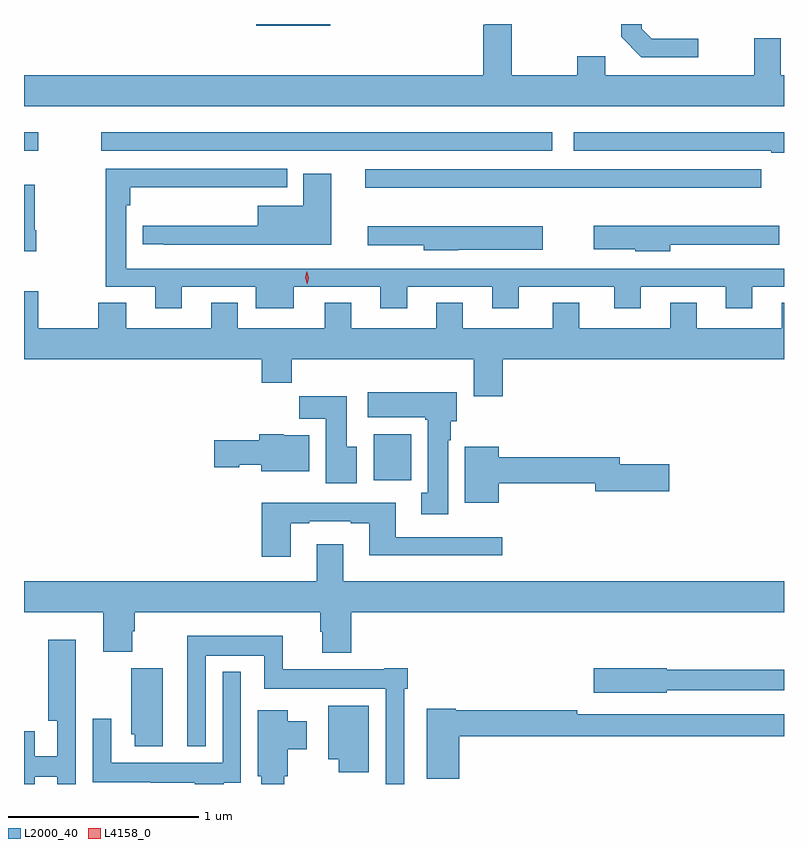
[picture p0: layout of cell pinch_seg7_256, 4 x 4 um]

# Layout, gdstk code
import gdstk
lib = gdstk.Library(unit=1e-6, precision=1e-09)
def R(c, l, rs):  # rectangles x0, y0, x1, y1
    for r in rs: c.add(gdstk.rectangle(r[:2], r[2:], *l))
def P(c, l, *ps):  # polygons
    for p in ps: c.add(gdstk.Polygon(p, *l))
L2000_40 = (2000, 40)
L4158_0 = (4158, 0)

pinch_seg7_256 = lib.new_cell('pinch_seg7_256')
R(pinch_seg7_256, L2000_40, [(804.425,1077.236,804.622,1077.478), (804.381,1078.775,806.464,1078.872), (802.585,1078.971,802.66,1079.068), (802.992,1078.971,805.366,1079.068), (803.808,1079.627,804.196,1079.637)])
P(pinch_seg7_256, L2000_40, [(806.134,1079.559),(805.89,1079.559),(805.836,1079.613),(805.836,1079.637),(805.728,1079.637),(805.728,1079.569),(805.833,1079.463),(806.134,1079.463)],
  [(806.585,1079.368),(806.569,1079.368),(806.569,1079.563),(806.429,1079.563),(806.429,1079.368),(805.645,1079.368),(805.645,1079.467),(805.498,1079.467),(805.498,1079.368),(805.153,1079.368),(805.153,1079.637),(805.013,1079.637),(805.013,1079.633),(805.001,1079.633),(805.001,1079.368),(802.585,1079.368),(802.585,1079.204),(806.585,1079.204)],
  [(806.585,1079.068),(805.479,1079.068),(805.479,1078.971),(806.519,1078.971),(806.519,1078.959),(806.585,1078.959)],
  [(803.416,1078.254),(803.804,1078.254),(803.804,1078.142),(804.004,1078.142),(804.004,1078.254),(804.461,1078.254),(804.461,1078.142),(804.601,1078.142),(804.601,1078.254),(805.049,1078.254),(805.049,1078.142),(805.189,1078.142),(805.189,1078.254),(805.691,1078.254),(805.691,1078.142),(805.831,1078.142),(805.831,1078.254),(806.279,1078.254),(806.279,1078.142),(806.419,1078.142),(806.419,1078.254),(806.585,1078.254),(806.585,1078.35),(803.124,1078.35),(803.124,1078.682),(803.144,1078.682),(803.144,1078.778),(803.72,1078.778),(803.72,1078.779),(803.971,1078.779),(803.971,1078.875),(803.016,1078.875),(803.016,1078.254),(803.276,1078.254),(803.276,1078.142),(803.416,1078.142)],
  [(804.202,1078.849),(804.056,1078.849),(804.056,1078.681),(803.816,1078.681),(803.816,1078.574),(803.209,1078.574),(803.209,1078.477),(803.32,1078.477),(803.32,1078.476),(803.92,1078.476),(803.92,1078.475),(804.202,1078.475)],
  [(802.65,1078.552),(802.642,1078.552),(802.642,1078.792),(802.585,1078.792),(802.585,1078.44),(802.65,1078.44)],
  [(805.987,1078.476),(806.56,1078.476),(806.56,1078.574),(805.584,1078.574),(805.584,1078.451),(805.803,1078.451),(805.803,1078.442),(805.987,1078.442)],
  [(804.87,1078.448),(805.315,1078.448),(805.315,1078.573),(804.393,1078.573),(804.393,1078.472),(804.69,1078.472),(804.69,1078.445),(804.87,1078.445)],
  [(805.106,1077.872),(806.585,1077.872),(806.585,1078.169),(806.573,1078.169),(806.573,1078.036),(806.125,1078.036),(806.125,1078.169),(805.985,1078.169),(805.985,1078.036),(805.507,1078.036),(805.507,1078.169),(805.367,1078.169),(805.367,1078.036),(804.895,1078.036),(804.895,1078.169),(804.755,1078.169),(804.755,1078.036),(804.307,1078.036),(804.307,1078.169),(804.167,1078.169),(804.167,1078.036),(803.71,1078.036),(803.71,1078.169),(803.57,1078.169),(803.57,1078.036),(803.122,1078.036),(803.122,1078.169),(802.975,1078.169),(802.975,1078.036),(802.659,1078.036),(802.659,1078.231),(802.585,1078.231),(802.585,1077.872),(803.837,1077.872),(803.837,1077.748),(803.993,1077.748),(803.993,1077.872),(804.953,1077.872),(804.953,1077.678),(805.106,1077.678)],
  [(804.817,1077.446),(804.832,1077.446),(804.832,1077.546),(804.862,1077.546),(804.862,1077.7),(804.393,1077.7),(804.393,1077.566),(804.697,1077.566),(804.697,1077.553),(804.71,1077.553),(804.71,1077.17),(804.677,1077.17),(804.677,1077.057),(804.817,1077.057)],
  [(804.337,1077.412),(804.283,1077.412),(804.283,1077.679),(804.034,1077.679),(804.034,1077.56),(804.173,1077.56),(804.173,1077.219),(804.337,1077.219)],
  [(804.085,1077.472),(803.952,1077.472),(803.952,1077.478),(803.822,1077.478),(803.822,1077.447),(803.586,1077.447),(803.586,1077.305),(803.718,1077.305),(803.718,1077.317),(803.834,1077.317),(803.834,1077.284),(804.085,1077.284)],
  [(805.084,1077.22),(805.592,1077.22),(805.592,1077.178),(805.981,1077.178),(805.981,1077.32),(805.72,1077.32),(805.72,1077.356),(805.084,1077.356),(805.084,1077.412),(804.905,1077.412),(804.905,1077.116),(805.084,1077.116)],
  [(803.989,1077.009),(804.085,1077.009),(804.085,1077.021),(804.305,1077.021),(804.305,1077.009),(804.401,1077.009),(804.401,1076.84),(805.102,1076.84),(805.102,1076.937),(804.541,1076.937),(804.541,1077.117),(804.077,1077.117),(804.077,1077.118),(803.837,1077.118),(803.837,1076.832),(803.989,1076.832)],
  [(804.308,1076.54),(806.585,1076.54),(806.585,1076.704),(804.265,1076.704),(804.265,1076.899),(804.125,1076.899),(804.125,1076.704),(802.585,1076.704),(802.585,1076.54),(803.003,1076.54),(803.003,1076.332),(803.155,1076.332),(803.155,1076.441),(803.168,1076.441),(803.168,1076.54),(804.143,1076.54),(804.143,1076.439),(804.155,1076.439),(804.155,1076.327),(804.308,1076.327)],
  [(804.585,1076.138),(804.605,1076.138),(804.605,1076.245),(804.482,1076.245),(804.482,1076.242),(803.948,1076.242),(803.948,1076.416),(803.444,1076.416),(803.444,1075.835),(803.541,1075.835),(803.541,1076.312),(803.85,1076.312),(803.85,1076.138),(804.489,1076.138),(804.489,1075.637),(804.585,1075.637)],
  [(802.642,1075.674),(802.761,1075.674),(802.761,1075.637),(802.857,1075.637),(802.857,1076.074),(802.858,1076.074),(802.858,1076.395),(802.712,1076.395),(802.712,1075.97),(802.761,1075.97),(802.761,1075.784),(802.642,1075.784),(802.642,1075.915),(802.585,1075.915),(802.585,1075.637),(802.642,1075.637)],
  [(805.968,1076.13),(806.585,1076.13),(806.585,1076.239),(805.968,1076.239),(805.968,1076.247),(805.584,1076.247),(805.584,1076.117),(805.968,1076.117)],
  [(803.314,1076.247),(803.15,1076.247),(803.15,1075.899),(803.168,1075.899),(803.168,1075.836),(803.314,1075.836)],
  [(803.635,1075.644),(803.727,1075.644),(803.727,1076.227),(803.631,1076.227),(803.631,1075.75),(803.043,1075.75),(803.043,1075.981),(802.947,1075.981),(802.947,1075.646),(803.251,1075.646),(803.251,1075.644),(803.483,1075.644),(803.483,1075.637),(803.635,1075.637)],
  [(804.4,1076.05),(804.185,1076.05),(804.185,1075.766),(804.242,1075.766),(804.242,1075.698),(804.4,1075.698)],
  [(804.875,1075.888),(806.585,1075.888),(806.585,1076.004),(805.496,1076.004),(805.496,1076.024),(804.858,1076.024),(804.858,1076.032),(804.704,1076.032),(804.704,1075.665),(804.875,1075.665)],
  [(803.956,1075.677),(803.974,1075.677),(803.974,1075.819),(804.073,1075.819),(804.073,1075.966),(803.974,1075.966),(803.974,1076.026),(803.816,1076.026),(803.816,1075.677),(803.834,1075.677),(803.834,1075.637),(803.956,1075.637)])
P(pinch_seg7_256, L4158_0, [(804.075,1078.267),(804.064,1078.302),(804.073,1078.337),(804.073,1078.337),(804.074,1078.337),(804.084,1078.302),(804.076,1078.267),(804.076,1078.267)])

lib.write_gds('pinch_seg7_256.gds')
